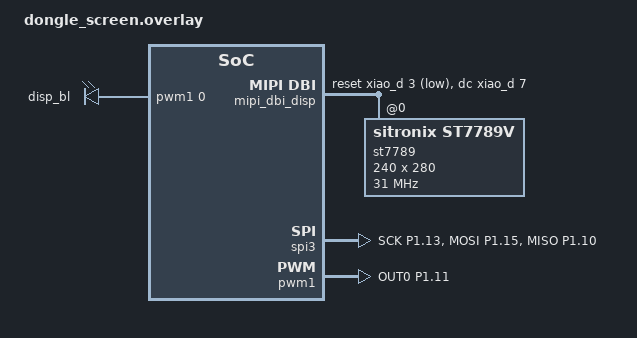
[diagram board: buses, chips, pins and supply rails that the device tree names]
/*
 * Zephyr 4.1 rewrite: the stock sitronix,st7789v driver moved to the MIPI-DBI
 * subsystem, so the panel now sits under a zephyr,mipi-dbi-spi controller node
 * (spi-dev + dc/reset gpios) instead of directly on the SPI bus. CS stays on the
 * SPI controller. DC is ACTIVE_HIGH here (the MIPI-DBI driver drives logic-high
 * for data); RESET stays ACTIVE_LOW.
 */
#include <zephyr/dt-bindings/mipi_dbi/mipi_dbi.h>

/ {
   pwmleds {
      compatible = "pwm-leds";
      disp_bl: pwm_led_1 {
          pwms = <&pwm1 0 PWM_MSEC(1) PWM_POLARITY_NORMAL>;
      };
   };

   chosen {
      zephyr,display = &st7789;
   };

   mipi_dbi_disp: mipi-dbi {
      compatible = "zephyr,mipi-dbi-spi";
      spi-dev = <&spi3>;
      dc-gpios = <&xiao_d 7 GPIO_ACTIVE_HIGH>;
      reset-gpios = <&xiao_d 3 GPIO_ACTIVE_LOW>;
      write-only;
      #address-cells = <1>;
      #size-cells = <0>;

      st7789: st7789v@0 {
          compatible = "sitronix,st7789v";
          reg = <0>;
          mipi-max-frequency = <31000000>;
          mipi-mode = "MIPI_DBI_MODE_SPI_4WIRE";
          width = <240>;
          height = <280>;
          x-offset = <0>;
          y-offset = <20>;
          vcom = <0x19>;
          gctrl = <0x35>;
          vrhs = <0x12>;
          vdvs = <0x20>;
          mdac = <0x00>;
          gamma = <0x01>;
          colmod = <0x05>;
          lcm = <0x2c>;
          porch-param = [ 0c 0c 00 33 33 ];
          cmd2en-param = [ 5a 69 02 01 ];
          pwctrl1-param = [ a4 a1 ];
          pvgam-param = [ D0 04 0D 11 13 2B 3F 54 4C 18 0D 0B 1F 23 ];
          nvgam-param = [ D0 04 0C 11 13 2C 3F 44 51 2F 1F 1F 20 23 ];
          ram-param = [ 00 F0 ];
          rgb-param = [ CD 08 14 ];
      };
   };
};

&spi2 {
   status = "disabled";
};

&pinctrl {
   spi3_default: spi3_default {
		group1 {
			psels = <NRF_PSEL(SPIM_SCK, 1, 13)>,
				<NRF_PSEL(SPIM_MOSI, 1, 15)>,
				<NRF_PSEL(SPIM_MISO, 1, 10)>;
		};
	};

	spi3_sleep: spi3_sleep {
		group1 {
			psels = <NRF_PSEL(SPIM_SCK, 1, 13)>,
				<NRF_PSEL(SPIM_MOSI, 1, 15)>,
				<NRF_PSEL(SPIM_MISO, 1, 10)>;
			low-power-enable;
		};
	};

   pwm1_default: pwm1_default {
      group1 {
         psels = <NRF_PSEL(PWM_OUT0, 1, 11)>;
         nordic,invert;
      };
   };

   pwm1_sleep: pwm1_sleep {
      group1 {
         psels = <NRF_PSEL(PWM_OUT0, 1, 11)>;
         low-power-enable;
      };
   };
};

&spi3 {
   status = "okay";
   pinctrl-0 = <&spi3_default>;
	pinctrl-1 = <&spi3_sleep>;
	pinctrl-names = "default", "sleep";
   cs-gpios = <&xiao_d 9 GPIO_ACTIVE_LOW>;
};

/*
 * The APDS9960 ambient-light sensor (optional, CONFIG_DONGLE_SCREEN_AMBIENT_LIGHT,
 * default n) is intentionally omitted: enabling &i2c0 on the Zephyr 4.1 xiao_ble
 * requires an explicit pinctrl, and the display does not need it. Re-add &i2c0
 * (with pinctrl-0/pinctrl-names) plus the apds9960 node if you enable that option.
 */

&pwm1 {
  status = "okay";
  pinctrl-0 = <&pwm1_default>;
  pinctrl-1 = <&pwm1_sleep>;
  pinctrl-names = "default", "sleep";
};
